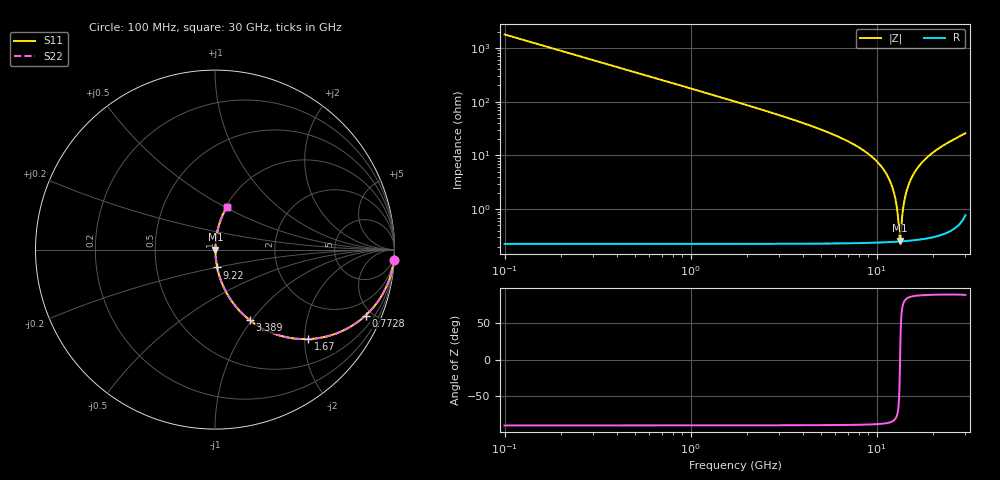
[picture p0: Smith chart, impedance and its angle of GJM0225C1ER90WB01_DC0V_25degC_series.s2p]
!Murata Part Number: GJM0225C1ER90WB01
!These Parameters are Measured in Series Mode Connection
!  o--ll--o
!Port1  Port2
!  o------o
!Operation Temp=25[degC], DC Bias Voltage=0[V]
!Freq. Start=100[MHz] Stop=30[GHz], 401[Steps]
!Data Generated on Feb 1, 2023
# Hz S RI R 50
!Freq.(Hz) S11(Real) S11(Imag) S21(Real) S21(Imag) S12(Real) S12(Imag) S22(Real) S22(Imag)
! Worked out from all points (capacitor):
!   401 points, 100 MHz to 30 GHz, reference 50 ohm
!   read as one part in series: C = 900 fF near 249.5 MHz
!   lowest |Z| = 261 mohm at 13.33 GHz (marker M1)
!   series resonance near 13.36 GHz, so ESL is about 160 pH
!   S11 on the Smith chart (normalised r, x): 100 MHz: 1, -35; 772.8 MHz: 1.00, -4.56; 1.67 GHz: 1.00, -2.09; 3.389 GHz: 1.00, -0.98; 9.22 GHz: 1.00, -0.20; 30 GHz: 1.02, +0.52
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1e8  0.9968 -0.0564  0.0032 0.0564  0.0032 0.0564  0.9968 -0.0564
3.99e8  0.9514 -0.2148  0.0486 0.2148  0.0486 0.2148  0.9514 -0.2148
7.7275e8  0.8385 -0.3675  0.1615 0.3675  0.1615 0.3675  0.8385 -0.3675
1.66975e9  0.5208 -0.4985  0.4792 0.4985  0.4792 0.4985  0.5208 -0.4985
2.492e9  0.32 -0.4648  0.68 0.4648  0.68 0.4648  0.32 -0.4648
3.389e9  0.1938 -0.3929  0.8062 0.3929  0.8062 0.3929  0.1938 -0.3929
5.10825e9  0.0823 -0.271  0.9177 0.271  0.9177 0.271  0.0823 -0.271
9.2195e9  0.0124 -0.0994  0.9876 0.0994  0.9876 0.0994  0.0124 -0.0994
1.01165e10  0.00795 -0.0742  0.992 0.0742  0.992 0.0742  0.00795 -0.0742
1.138725e10  0.00425 -0.0425  0.9957 0.0425  0.9957 0.0425  0.00425 -0.0425
1.228425e10  0.00297 -0.0224  0.997 0.0224  0.997 0.0224  0.00297 -0.0224
1.28075e10  0.00262 -0.0113  0.9974 0.0113  0.9974 0.0113  0.00262 -0.0113
1.333075e10  0.00251 -0.000671  0.9975 0.000671  0.9975 0.000671  0.00251 -0.000671
1.348025e10  0.00253 0.00229  0.9975 -0.00229  0.9975 -0.00229  0.00253 0.00229
1.377925e10  0.0026 0.00812  0.9974 -0.00812  0.9974 -0.00812  0.0026 0.00812
1.407825e10  0.00274 0.0138  0.9973 -0.0138  0.9973 -0.0138  0.00274 0.0138
1.452675e10  0.00307 0.0222  0.9969 -0.0222  0.9969 -0.0222  0.00307 0.0222
1.505e10  0.00361 0.0317  0.9964 -0.0317  0.9964 -0.0317  0.00361 0.0317
1.69935e10  0.00692 0.0645  0.9931 -0.0645  0.9931 -0.0645  0.00692 0.0645
2.005825e10  0.0155 0.1109  0.9845 -0.1109  0.9845 -0.1109  0.0155 0.1109
2.50665e10  0.0368 0.1778  0.9632 -0.1778  0.9632 -0.1778  0.0368 0.1778
3e10  0.0692 0.2392  0.9308 -0.2392  0.9308 -0.2392  0.0692 0.2392
